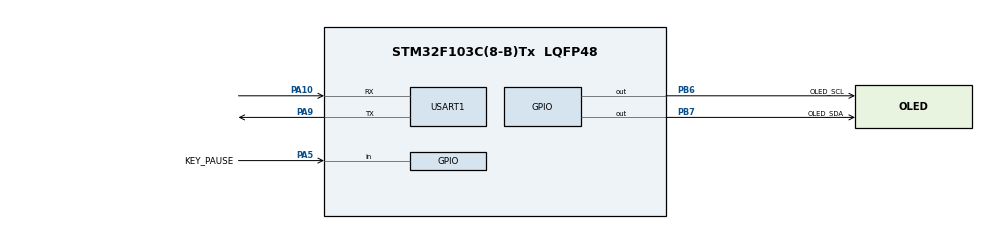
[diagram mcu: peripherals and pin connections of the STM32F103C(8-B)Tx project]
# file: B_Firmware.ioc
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Mcu.Family=STM32F1
Mcu.Name=STM32F103C(8-B)Tx
Mcu.Package=LQFP48
NVIC.PriorityGroup=NVIC_PRIORITYGROUP_4
NVIC.USART1_IRQn=true\:2\:0\:false\:false\:true\:true\:true\:true
PA10.Mode=Asynchronous
PA10.Signal=USART1_RX
PA13.Mode=Serial_Wire
PA13.Signal=SYS_JTMS-SWDIO
PA14.Mode=Serial_Wire
PA14.Signal=SYS_JTCK-SWCLK
PA5.GPIO_Label=KEY_PAUSE
PA5.GPIO_PuPd=GPIO_PULLUP
PA5.Signal=GPIO_Input
PA9.Mode=Asynchronous
PA9.Signal=USART1_TX
PB6.GPIO_Label=OLED_SCL
PB6.GPIO_ModeDefaultOutputPP=GPIO_MODE_OUTPUT_OD
PB6.GPIO_PuPd=GPIO_PULLUP
PB6.GPIO_Speed=GPIO_SPEED_FREQ_HIGH
PB6.PinState=GPIO_PIN_SET
PB6.Signal=GPIO_Output
PB7.GPIO_Label=OLED_SDA
PB7.GPIO_ModeDefaultOutputPP=GPIO_MODE_OUTPUT_OD
PB7.GPIO_PuPd=GPIO_PULLUP
PB7.GPIO_Speed=GPIO_SPEED_FREQ_HIGH
PB7.PinState=GPIO_PIN_SET
PB7.Signal=GPIO_Output
PD0-OSC_IN.Mode=HSE-External-Oscillator
PD0-OSC_IN.Signal=RCC_OSC_IN
PD1-OSC_OUT.Mode=HSE-External-Oscillator
PD1-OSC_OUT.Signal=RCC_OSC_OUT
ProjectManager.HeapSize=0x200
ProjectManager.StackSize=0x400
ProjectManager.TargetToolchain=MDK-ARM V5
RCC.APB1Freq_Value=8000000
RCC.APB2Freq_Value=8000000
USART1.VirtualMode=VM_ASYNC
board=custom

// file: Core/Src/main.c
/* USER CODE BEGIN Header */
/**
  ******************************************************************************
  * @file           : main.c
  * @brief          : Main program body
  ******************************************************************************
  * @attention
  *
  * Copyright (c) 2026 STMicroelectronics.
  * All rights reserved.
  *
  * This software is licensed under terms that can be found in the LICENSE file
  * in the root directory of this software component.
  * If no LICENSE file comes with this software, it is provided AS-IS.
  *
  ******************************************************************************
  */
/* USER CODE END Header */
#include "main.h"
#include "usart.h"
#include "gpio.h"

/* USER CODE BEGIN Includes */
#include "oled.h"
#include "protocol.h"
/* USER CODE END Includes */

/* USER CODE BEGIN PD */
#define KEY_DEB_SAMPLES   2U      /* 按键消抖: 连续 2 次 10ms 采样一致 (20ms) */
#define OLED_REFRESH_MS   20U     /* OLED 最小刷新间隔 (收到新帧即刷新, 保证数值与状态同帧更新) */
#define RX_BUF_SIZE       64U     /* 串口接收环形缓冲 */

/* ============================================================================
 * 调试显示开关: 1 = OLED 第4行显示通信计数器 (I中断数/F帧数/E校验错)
 *               0 = 正常显示 (仅保留计数器变量, 不占用屏幕)
 * 正式验收请保持 0
 * ==========================================================================*/
#define DEBUG_DISPLAY     0
/* USER CODE END PD */

/* USER CODE BEGIN PV */
/* ---- A 机发来的状态 (解析帧后更新, 仅主循环访问) ---- */
static uint16_t pwm1_duty = 0U;            /* 0.1% 单位 0..1000 */
static uint16_t pwm2_duty = 0U;            /* 0.1% 单位 0..1000 */
static uint8_t  a_paused = 0U;
static uint8_t  frame_new = 0U;

/* ---- 通信诊断计数器 (临时诊断用, 定位数据停在哪一步) ---- */
volatile uint32_t dbg_isr  = 0U;   /* UART 接收中断进入次数 */
volatile uint32_t dbg_ring = 0U;   /* 环形缓冲写入成功次数 */
volatile uint32_t dbg_full = 0U;   /* 环形缓冲满(丢弃)次数 */
volatile uint32_t dbg_frame= 0U;   /* 收到完整帧(校验通过)次数 */
volatile uint32_t dbg_ckbad= 0U;   /* 校验失败次数 */
volatile uint16_t dbg_last_p1 = 0U;
volatile uint16_t dbg_last_p2 = 0U;

/* ---- 暂停键状态 (PB0, 按下切换 暂停/恢复) ---- */
static uint8_t  pause_cmd = 0U;            /* 当前输出状态: 0=运行 1=暂停 */
static uint8_t ctrl_pending = 0U;
static uint32_t ctrl_sent_ms = 0U;

/* ---- 按键消抖 (主循环 10ms 扫描) ---- */
typedef struct
{
  uint8_t last_raw;
  uint8_t cnt;
  uint8_t stable;
  uint8_t event;
} key_t;
static key_t key_pause;

/* ---- 串口接收环形缓冲: 中断写 head, 主循环读 tail (单生产/单消费, 无竞争) ---- */
static volatile uint8_t rx_head = 0U;
static uint8_t rx_tail = 0U;
static uint8_t rx_buf[RX_BUF_SIZE];
static uint8_t rx_byte;

/* ---- 显示缓存 ---- */
static uint16_t disp_p1 = 0xFFFFU;
static uint16_t disp_p2 = 0xFFFFU;
static uint8_t  disp_state = 0xFFU;        /* 0=电机停止 1=正常运作 2=速度异常 */
/* USER CODE END PV */

void SystemClock_Config(void);
/* USER CODE BEGIN PFP */
static void proto_feed(uint8_t b);
static void oled_render(void);
static void send_ctrl_frame(uint8_t cmd);
static uint8_t u16_digits(uint16_t v);
/* USER CODE END PFP */

/* USER CODE BEGIN 0 */
/* A->B 状态帧解析: 0xAA 0x55 0x01 0x05 [P1H P1L P2H P2L FLAGS] CKSUM
 * 状态机逐字节喂入, XOR 校验失败整帧丢弃 (旧方案 sscanf 行协议无校验, 已废除) */
static void proto_feed(uint8_t b)
{
  static uint8_t st = 0U;         /* 0 找头1 1 找头2 2 TYPE 3 LEN 4 载荷 5 校验 */
  static uint8_t type = 0U;
  static uint8_t len = 0U;
  static uint8_t idx = 0U;
  static uint8_t pay[PROT_MAX_PAYLOAD];
  static uint8_t ck = 0U;

  switch (st)
  {
    case 0U:
      if (b == PROT_HEAD1) { st = 1U; }
      break;
    case 1U:
      st = (b == PROT_HEAD2) ? 2U : ((b == PROT_HEAD1) ? 1U : 0U);
      break;
    case 2U:
      type = b;
      ck = b;
      st = (type == PROT_TYPE_STATE) ? 3U : 0U;
      break;
    case 3U:
      len = b;
      ck = (uint8_t)(ck ^ len);
      if ((len == PROT_STATE_LEN) && (len <= PROT_MAX_PAYLOAD)) { idx = 0U; st = 4U; }
      else { st = 0U; }
      break;
    case 4U:
      pay[idx++] = b;
      ck = (uint8_t)(ck ^ b);
      st = (idx >= len) ? 5U : 4U;
      break;
    case 5U:
      st = 0U;
      if (b == ck)
      {
        dbg_frame++;
        pwm1_duty = (uint16_t)(((uint16_t)pay[0] << 8) | pay[1]);
        pwm2_duty = (uint16_t)(((uint16_t)pay[2] << 8) | pay[3]);
        dbg_last_p1 = pwm1_duty;
        dbg_last_p2 = pwm2_duty;
        a_paused  = (uint8_t)(pay[4] & PROT_FLAG_PAUSE);
        if (ctrl_pending != 0U)
        {
          if ((a_paused != 0U) == (pause_cmd != 0U)) { ctrl_pending = 0U; }
        }
        else
        {
          pause_cmd = (a_paused != 0U) ? 1U : 0U;
        }
        frame_new = 1U;
      }
      else
      {
        dbg_ckbad++;
      }
      break;
    default:
      st = 0U;
      break;
  }
}

/* 第三行状态判断: =0 电机停止; 0<duty<80% 正常运作; >=80% 速度异常
 * A 机暂停时占空比已清零, 此处再按暂停标志兜底强制显示"电机停止" */
static uint8_t motor_status(void)
{
  if ((pwm2_duty == 0U) || (a_paused != 0U)) { return 0U; }
  if (pwm2_duty < 800U) { return 1U; }
  return 2U;
}

static void oled_render(void)
{
  uint8_t st = motor_status();

  if (disp_p1 != pwm1_duty)
  {
    disp_p1 = pwm1_duty;
    OLED_Print(0U, 0U, "PWM1:");
    OLED_Print(40U, 0U, "    ");               /* 清数字区 */
    OLED_PrintU(40U, 0U, (uint32_t)(pwm1_duty / 10U));  /* 0.1% -> % */
    OLED_Print(40U + (uint8_t)(8U * u16_digits((uint16_t)(pwm1_duty / 10U))), 0U, "%");
  }

  if (disp_p2 != pwm2_duty)
  {
    disp_p2 = pwm2_duty;
    OLED_Print(0U, 2U, "PWM2:");
    OLED_Print(40U, 2U, "    ");
    OLED_PrintU(40U, 2U, (uint32_t)(pwm2_duty / 10U));
    OLED_Print(40U + (uint8_t)(8U * u16_digits((uint16_t)(pwm2_duty / 10U))), 2U, "%");
  }

  if (disp_state != st)
  {
    disp_state = st;
    if (st == 0U)
    {
      OLED_PutCN(CN_DIAN, 0U, 4U);             /* 电机停止 */
      OLED_PutCN(CN_JI, 16U, 4U);
      OLED_PutCN(CN_TING, 32U, 4U);
      OLED_PutCN(CN_ZHI, 48U, 4U);
    }
    else if (st == 1U)
    {
      OLED_PutCN(CN_ZHENG, 0U, 4U);            /* 正常运作 */
      OLED_PutCN(CN_CHANG, 16U, 4U);
      OLED_PutCN(CN_YUN, 32U, 4U);
      OLED_PutCN(CN_ZUO, 48U, 4U);
    }
    else
    {
      OLED_PutCN(CN_SU, 0U, 4U);               /* 速度异常 */
      OLED_PutCN(CN_DU, 16U, 4U);
      OLED_PutCN(CN_YI, 32U, 4U);
      OLED_PutCN(CN_CHANG, 48U, 4U);
    }
  }

#if DEBUG_DISPLAY
  /* 调试行: 通信计数器 (仅在 DEBUG_DISPLAY=1 时显示) */
  OLED_Print(0U, 6U, "I");
  OLED_PrintU(8U, 6U, dbg_isr);
  OLED_Print(64U, 6U, "F");
  OLED_PrintU(72U, 6U, dbg_frame);
  OLED_Print(96U, 6U, "E");
  OLED_PrintU(104U, 6U, dbg_ckbad % 1000U);
#endif

  OLED_Update();
}

static uint8_t u16_digits(uint16_t v)
{
  uint8_t n = 1U;
  while (v >= 10U) { v /= 10U; n++; }
  return n;
}

/* B->A 控制帧: 0xAA 0x55 0x02 0x01 [CMD] CKSUM */
static void send_ctrl_frame(uint8_t cmd)
{
  uint8_t f[6];
  f[0] = PROT_HEAD1;
  f[1] = PROT_HEAD2;
  f[2] = PROT_TYPE_CTRL;
  f[3] = PROT_CTRL_LEN;
  f[4] = cmd;
  f[5] = (uint8_t)(PROT_TYPE_CTRL ^ PROT_CTRL_LEN ^ cmd);
  (void)HAL_UART_Transmit(&huart1, f, 6U, 20U);
  ctrl_sent_ms = HAL_GetTick();
}

/* USART1 单字节接收完成: 写环形缓冲 (中断内只写 head) */
void HAL_UART_RxCpltCallback(UART_HandleTypeDef *huart)
{
  if (huart->Instance == USART1)
  {
    uint8_t next = (uint8_t)((rx_head + 1U) % RX_BUF_SIZE);
    dbg_isr++;
    if (next != rx_tail)
    {
      rx_buf[rx_head] = rx_byte;
      rx_head = next;
      dbg_ring++;
    }
    else
    {
      dbg_full++;
    }
    (void)HAL_UART_Receive_IT(&huart1, &rx_byte, 1U);
  }
}
/* USER CODE END 0 */

int main(void)
{

  /* MCU Configuration--------------------------------------------------------*/

  /* Reset of all peripherals, Initializes the Flash interface and the Systick. */
  HAL_Init();

  /* Configure the system clock */
  SystemClock_Config();

  /* Initialize all configured peripherals */
  MX_GPIO_Init();
  MX_USART1_UART_Init();
  /* USER CODE BEGIN 2 */
  OLED_Init();
  oled_render();                       /* 初始画面: PWM1:0% / PWM2:0% / 电机停止 */
  if (HAL_UART_Receive_IT(&huart1, &rx_byte, 1U) != HAL_OK) { Error_Handler(); }
  /* USER CODE END 2 */

  /* Infinite loop */
  while (1)
  {

    /* USER CODE BEGIN 3 */
    static uint32_t last_scan = 0U;
    static uint32_t last_oled = 0U;
    uint32_t now = HAL_GetTick();

    /* 消费串口接收环形缓冲 */
    while (rx_tail != rx_head)
    {
      uint8_t b = rx_buf[rx_tail];
      rx_tail = (uint8_t)((rx_tail + 1U) % RX_BUF_SIZE);
      proto_feed(b);
    }

    /* 暂停键 (PB0): 每 10ms 扫描, 20ms 消抖, 按下沿切换 暂停/恢复 并发控制帧 */
    if ((now - last_scan) >= 10U)
    {
      uint8_t raw;
      last_scan = now;
      raw = (HAL_GPIO_ReadPin(KEY_PAUSE_GPIO_Port, KEY_PAUSE_Pin) == GPIO_PIN_RESET) ? 1U : 0U;
      if (raw == key_pause.last_raw)
      {
        if ((key_pause.cnt < 255U) && (key_pause.cnt < KEY_DEB_SAMPLES)) { key_pause.cnt++; }
        if ((key_pause.cnt >= KEY_DEB_SAMPLES) && (key_pause.stable != raw))
        {
          key_pause.stable = raw;
          if (raw != 0U) { key_pause.event = 1U; }
        }
      }
      else
      {
        key_pause.last_raw = raw;
        key_pause.cnt = 1U;
      }
    }

    if (key_pause.event != 0U)
    {
      key_pause.event = 0U;
      pause_cmd = (uint8_t)(pause_cmd ^ 1U);    /* 一键暂停/恢复 */
      ctrl_pending = 1U;
      send_ctrl_frame((pause_cmd != 0U) ? PROT_CTRL_PAUSE : PROT_CTRL_RESUME);
    }

    /* 未收到状态确认时重发，A 机重复控制帧保持幂等。 */
    if ((ctrl_pending != 0U) && ((now - ctrl_sent_ms) >= 100U))
    {
      send_ctrl_frame((pause_cmd != 0U) ? PROT_CTRL_PAUSE : PROT_CTRL_RESUME);
    }

    /* 收到新帧即刷新 (限最小间隔 20ms 防止刷屏过载):
       保证「占空比数值」与「状态文字」在同一帧内同时更新, 消除状态滞后 */
    if ((frame_new != 0U) && ((now - last_oled) >= 20U))
    {
      frame_new = 0U;
      last_oled = now;
      oled_render();
    }
  }
  /* USER CODE END 3 */
}

void SystemClock_Config(void)
{
  RCC_OscInitTypeDef RCC_OscInitStruct = {0};
  RCC_ClkInitTypeDef RCC_ClkInitStruct = {0};

  /** Initializes the RCC Oscillators according to the specified parameters
  * in the RCC_OscInitTypeDef structure.
  */
  RCC_OscInitStruct.OscillatorType = RCC_OSCILLATORTYPE_HSI;
  RCC_OscInitStruct.HSIState = RCC_HSI_ON;
  RCC_OscInitStruct.HSICalibrationValue = RCC_HSICALIBRATION_DEFAULT;
  RCC_OscInitStruct.PLL.PLLState = RCC_PLL_NONE;
  if (HAL_RCC_OscConfig(&RCC_OscInitStruct) != HAL_OK)
  {
    Error_Handler();
  }

  /** Initializes the CPU, AHB and APB buses clocks
  */
  RCC_ClkInitStruct.ClockType = RCC_CLOCKTYPE_HCLK|RCC_CLOCKTYPE_SYSCLK
                              |RCC_CLOCKTYPE_PCLK1|RCC_CLOCKTYPE_PCLK2;
  RCC_ClkInitStruct.SYSCLKSource = RCC_SYSCLKSOURCE_HSI;
  RCC_ClkInitStruct.AHBCLKDivider = RCC_SYSCLK_DIV1;
  RCC_ClkInitStruct.APB1CLKDivider = RCC_HCLK_DIV1;
  RCC_ClkInitStruct.APB2CLKDivider = RCC_HCLK_DIV1;

  if (HAL_RCC_ClockConfig(&RCC_ClkInitStruct, FLASH_LATENCY_0) != HAL_OK)
  {
    Error_Handler();
  }
}

void Error_Handler(void)
{
  __disable_irq();
  while (1)
  {
  }
}
